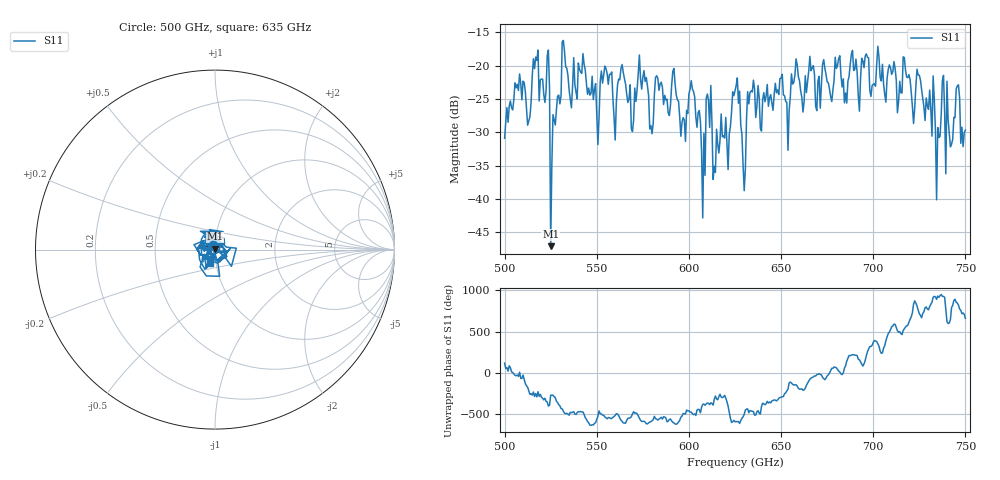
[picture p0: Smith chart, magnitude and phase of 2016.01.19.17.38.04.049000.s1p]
!Created with skrf (http://scikit-rf.org).
# GHz S RI R 50.0
!freq ReS11 ImS11
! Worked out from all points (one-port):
!   401 points, 500 GHz to 750 GHz, reference 50 ohm
!   lowest |S11| = -47.1 dB at 525 GHz (marker M1), VSWR 1.01, Z = 50 + j0.443 ohm
!   |S11| at or under -10 dB: start of sweep to end of sweep
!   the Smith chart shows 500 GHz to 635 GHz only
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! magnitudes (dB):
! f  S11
! 500 GHz  -30.9
! 506.9 GHz  -22.8
! 513.1 GHz  -28.3
! 516.9 GHz  -18.7
! 523.1 GHz  -18.5
! 525 GHz  -47.1
! 526.2 GHz  -27.3
! 531.2 GHz  -16.4
! 550 GHz  -27.3
! 562.5 GHz  -22.1
! 570 GHz  -28.1
! 576.2 GHz  -22.4
! 579.4 GHz  -29.0
! 583.1 GHz  -21.9
! 593.8 GHz  -25.1
! 601.9 GHz  -23.5
! 607.5 GHz  -42.8
! 610.6 GHz  -25.2
! 614.4 GHz  -36.0
! 625 GHz  -23.8
! 629.4 GHz  -34.9
! 634.4 GHz  -24.0
! 656.2 GHz  -22.8
! 687.5 GHz  -19.8
! 718.8 GHz  -21.8
! 735 GHz  -29.3
! 745.6 GHz  -23.0
! 750 GHz  -29.7
